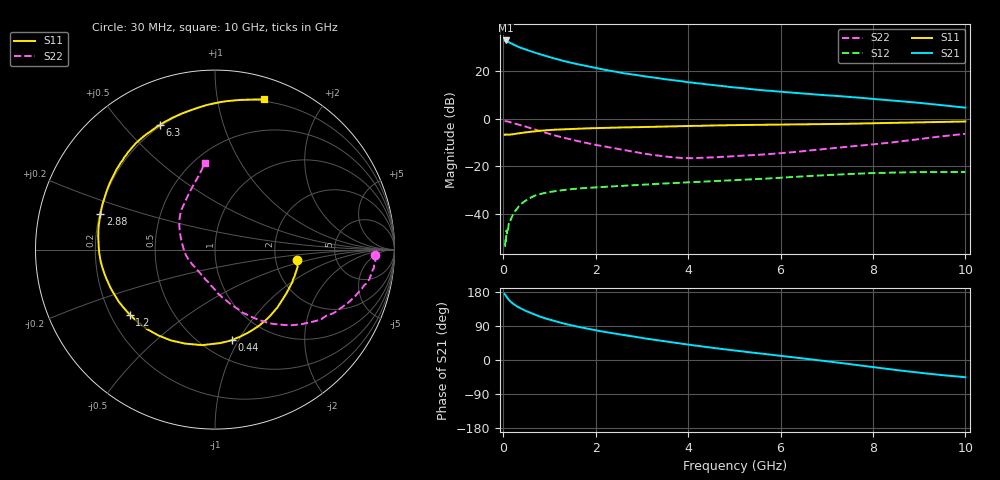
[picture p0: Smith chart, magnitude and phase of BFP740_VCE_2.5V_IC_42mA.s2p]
! Infineon Technologies  Discrete & RF Semiconductors
! BFP740
! VCE =  2.5 V,  IC =  42 mA
! Common Emitter S-Parameters:  Jan 2016
# GHz  S  MA  R  50
!  f  S11  S21  S12  S22
! GHz  MAG  ANG  MAG  ANG  MAG  ANG  MAG  ANG
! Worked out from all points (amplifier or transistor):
!   229 points, 30 MHz to 10 GHz, reference 50 ohm
!   highest |S21| = 33.0 dB at 50 MHz (marker M1)
!   |S21| within 3 dB of that: start of sweep to 366.9 MHz
!   unconditionally stable (mu >= 1): start of sweep to 37.39 MHz; 4.291 GHz to end of sweep
!   at 280 MHz: K = 0.42, MSG = 34.5 dB, |S12| = -38.2 dB
!   at 1.78 GHz: K = 0.63, MSG = 25.7 dB, |S12| = -29.1 dB
!   at 10 GHz: K = 1.02, MAG = 12.6 dB, |S12| = -22.3 dB
!   S11 on the Smith chart (normalised r, x): 30 MHz: 2.64, -0.38; 440 MHz: 0.69, -0.94; 1.2 GHz: 0.28, -0.31; 2.88 GHz: 0.20, +0.14; 6.3 GHz: 0.19, +0.63; 10 GHz: 0.18, +1.36
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0.03  0.4606 -7.1  43.87 174.5  0.0021 58.1  0.8918 -1.8
0.04  0.4588 -9.3  43.8 172.7  0.0021 79.5  0.8928 -3.0
0.05  0.4706 -11.5  44.54 171.0  0.0031 81.4  0.8956 -4.3
0.08  0.4678 -18.4  43.39 165.0  0.0039 80.9  0.8845 -7.7
0.11  0.4661 -25.1  41.61 160.3  0.0051 71.1  0.8763 -10.8
0.15  0.467 -33.4  39.53 155.2  0.0071 76.4  0.85 -14.4
0.2  0.4742 -43.0  37.26 149.7  0.0092 71.1  0.8239 -18.2
0.3  0.4899 -59.6  33.66 141.5  0.0129 68.2  0.7736 -24.8
0.44  0.5125 -79.5  29.7 132.4  0.0178 60.2  0.7086 -33.0
0.6  0.5372 -97.7  26.38 123.7  0.0222 53.2  0.6333 -41.1
0.78  0.5591 -114.3  23.14 115.3  0.0258 47.2  0.56 -48.4
1  0.5829 -130.6  19.92 106.4  0.0289 41.4  0.4828 -56.1
1.2  0.5978 -142.6  17.5 99.5  0.031 37.7  0.4256 -61.6
1.7  0.6253 -164.1  13.47 85.7  0.0347 31.4  0.3269 -72.6
2.2  0.6472 179.8  10.73 74.1  0.0373 28.0  0.2618 -82.7
2.88  0.668 162.9  8.363 60.6  0.0405 25.5  0.1981 -97.0
3.4  0.6856 151.9  7.071 51.0  0.0433 23.6  0.1664 -113.1
5.1  0.7403 125.5  4.471 23.7  0.0518 18.4  0.1665 -171.2
6.3  0.7606 113.8  3.522 6.9  0.0602 14.4  0.2007 161.2
6.8  0.7709 108.2  3.238 -0.4  0.0641 11.5  0.2237 151.4
8.4  0.8225 87.9  2.439 -24.9  0.0741 -0.6  0.3186 121.0
10  0.8792 72.1  1.723 -45.4  0.0763 -11.8  0.4849 96.8
